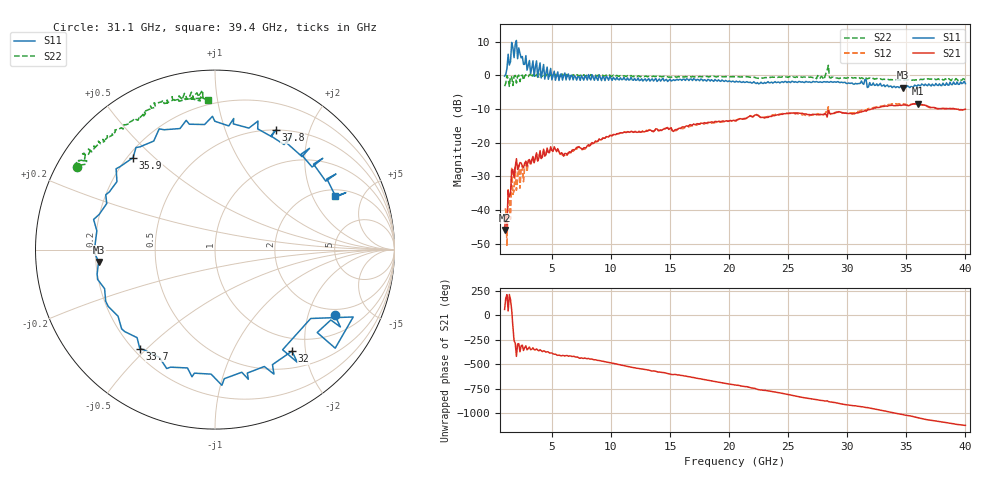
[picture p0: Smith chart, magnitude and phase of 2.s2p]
!Keysight Technologies,N5224A,MY55441802,A.10.65.16
!Date: Wednesday, May 13, 2026 19:13:36
!Correction: S11(Full 2 Port(1,2))
!S21(Full 2 Port(1,2))
!S12(Full 2 Port(1,2))
!S22(Full 2 Port(1,2))
!S2P File: Measurements: S11, S21, S12, S22:
# Hz S  dB  R 50
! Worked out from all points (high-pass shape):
!   391 points, 1 GHz to 40 GHz, reference 50 ohm
!   highest |S21| = -8.46 dB at 36 GHz (marker M1); lowest = -45.9 dB at 1 GHz (marker M2)
!   |S21| within 3 dB of the highest: 28.35 GHz to 30.37 GHz (2.025 GHz wide, 6.9 % of centre); 30.46 GHz to end of sweep (the widest 2 of 4)
!   lowest |S11| = -3.7 dB at 34.7 GHz (marker M3), VSWR 4.75, Z = 10.5 - j2.54 ohm
!   |S11| at or under -10 dB: nowhere
!   |S22| runs from -3.3 to 3.0 dB; largest |S21 - S12| = 0.076
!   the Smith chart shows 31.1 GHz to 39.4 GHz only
!   S11 on the Smith chart (normalised r, x): 31.1 GHz: 1.74, -2.99; 32 GHz: 0.77, -1.75; 33.7 GHz: 0.22, -0.48; 35.9 GHz: 0.22, +0.43; 37.8 GHz: 0.50, +1.51; 39.4 GHz: 2.35, +3.00
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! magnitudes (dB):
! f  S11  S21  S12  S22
! 1 GHz  -0.3  -45.9  -39.7  -3.2
! 1.2 GHz  2.0  -44.5  -50.7  -0.1
! 1.3 GHz  6.2  -34.2  -34.0  -1.0
! 1.5 GHz  4.0  -35.2  -42.7  -0.3
! 1.6 GHz  9.7  -28.2  -27.3  -0.5
! 2 GHz  10.3  -24.8  -34.2  -2.3
! 2.2 GHz  8.1  -27.2  -26.7  0.0
! 3.5 GHz  -0.3  -25.9  -25.9  0.2
! 7.5 GHz  -0.1  -21.7  -22.1  0.0
! 14 GHz  -1.5  -16.4  -16.5  -0.5
! 20.5 GHz  -2.0  -13.6  -13.4  -0.4
! 27 GHz  -2.1  -11.7  -11.8  -0.6
! 31.1 GHz  -2.4  -11.0  -10.6  -1.0
! 32 GHz  -3.0  -10.1  -9.8  -1.1
! 33.5 GHz  -3.4  -9.0  -8.7  -1.3
! 33.7 GHz  -3.2  -9.0  -8.6  -1.3
! 34.7 GHz  -3.7  -8.8  -8.4  -1.4
! 35.9 GHz  -3.3  -8.5  -8.5  -1.4
! 36 GHz  -2.9  -8.5  -8.6  -1.5
! 37.8 GHz  -2.5  -9.9  -9.9  -1.3
! 39.4 GHz  -2.7  -10.1  -10.1  -1.6
! 40 GHz  -2.5  -10.1  -10.1  -1.3
